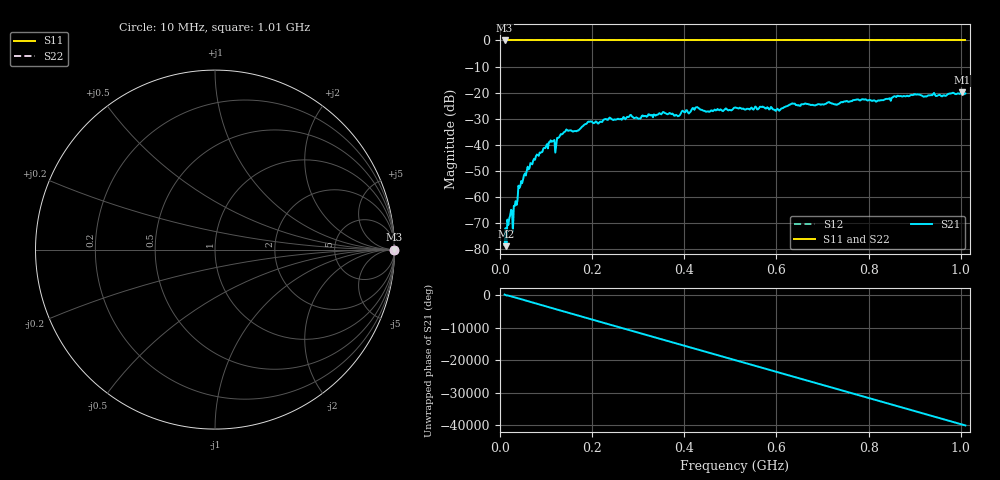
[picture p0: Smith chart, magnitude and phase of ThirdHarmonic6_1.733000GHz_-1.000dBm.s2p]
! 8/16/2025 8:52:57 PM
! C:\ANRITSUVNA\TEMP\TEMP.S2P
! CHANNEL.1
! TR.MEASUREMENT
! RAW.DATA
! RF.CORRECTION.OFF
! AVERAGING.OFF
! IF.BANDWIDTH: 5KHZ
! SWEEPTYPE:  FREQ.SWEEP(Linear)
! Reference Plane Port Info
! PORT:  PORT1  PORT2
! DISTANCE:  0  m  0  m
! TIME:  0  s  0  s
! PHASE.OFFSET:  0  deg.  0  deg.
! LOSS:  0  dB  0  dB
! REF.LOSS:  0  dB  0  dB
! REF.FREQ:  0  Hz  0  Hz
! Power Info
! POWER:  -20  dBm  -20  dBm
! EFF.POWER:  -20  dBm  -20  dBm
! SOURCE.ATTEN:  0  dB  0  dB
! TEST.ATTEN:  0  dB  0  dB
# GHZ S RI R 50.0
! FREQ.GHZ  S11RE  S11IM  S21RE  S21IM  S12RE  S12IM  S22RE  S22IM
!; PortSelection: Port_12
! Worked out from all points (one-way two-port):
!   501 points, 10 MHz to 1.01 GHz, reference 50 ohm
!   highest |S21| = -19.80 dB at 1.002 GHz (marker M1); lowest = -78.7 dB at 14 MHz (marker M2)
!   lowest |S11| = 0.0 dB at 10 MHz (marker M3)
!   |S11| at or under -10 dB: nowhere
!   |S22| runs from 0.0 to 0.0 dB; largest |S21 - S12| = 1.1
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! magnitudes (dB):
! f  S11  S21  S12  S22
! 10 MHz  0.0  -78.3  0.0  0.0
! 14 MHz  0.0  -78.7  0.0  0.0
! 20 MHz  0.0  -68.2  0.0  0.0
! 32 MHz  0.0  -63.3  0.0  0.0
! 44 MHz  0.0  -55.7  0.0  0.0
! 76 MHz  0.0  -45.7  0.0  0.0
! 110 MHz  0.0  -38.2  0.0  0.0
! 124 MHz  0.0  -37.3  0.0  0.0
! 142 MHz  0.0  -34.8  0.0  0.0
! 178 MHz  0.0  -33.0  0.0  0.0
! 194 MHz  0.0  -31.1  0.0  0.0
! 344 MHz  0.0  -28.2  0.0  0.0
! 386 MHz  0.0  -29.0  0.0  0.0
! 428 MHz  0.0  -25.5  0.0  0.0
! 450 MHz  0.0  -27.2  0.0  0.0
! 510 MHz  0.0  -25.7  0.0  0.0
! 602 MHz  0.0  -26.1  0.0  0.0
! 636 MHz  0.0  -24.2  0.0  0.0
! 678 MHz  0.0  -24.6  0.0  0.0
! 844 MHz  0.0  -22.3  0.0  0.0
! 1.002 GHz  0.0  -19.8  0.0  0.0
! 1.01 GHz  0.0  -20.3  0.0  0.0
